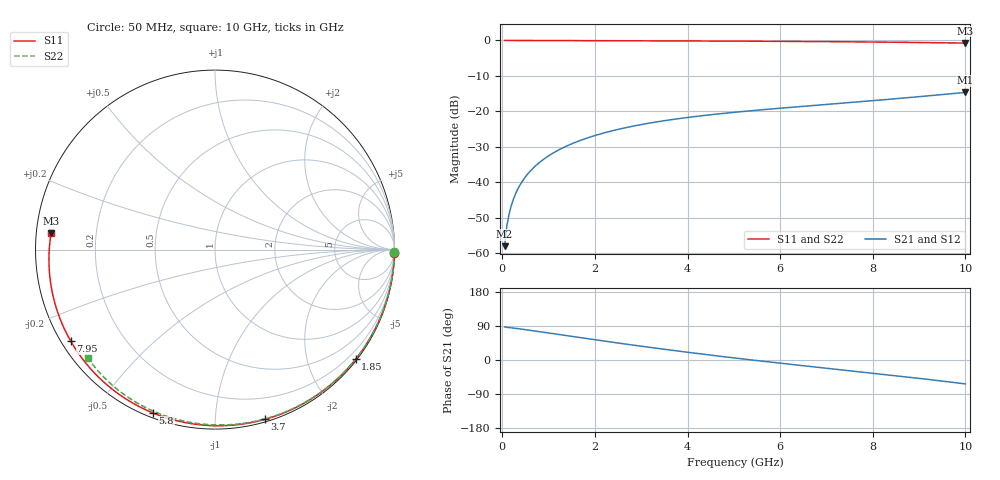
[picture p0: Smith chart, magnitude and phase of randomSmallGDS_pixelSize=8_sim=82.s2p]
! freq	dB(S11)	phase(S11)	dB(S12)	phase(S12)
!  dB(S21)	phase(S21)	dB(S22)	phase(S22)
!S-par simulation data
#  GHz  S  DB  R 50
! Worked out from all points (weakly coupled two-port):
!   200 points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, 50 MHz to 10 GHz, reference 50 ohm
!   highest |S21| = -14.65 dB at 10 GHz (marker M1); lowest = -58.0 dB at 50 MHz (marker M2)
!   lowest |S11| = -0.7 dB at 10 GHz (marker M3), VSWR 23.31, Z = 2.15 + j2.47 ohm
!   |S11| at or under -10 dB: nowhere
!   |S22| runs from -0.6 to 0.0 dB; largest |S21 - S12| = 0
!   S11 on the Smith chart (normalised r, x): 50 MHz: open; 1.85 GHz: 0.03, -2.91; 3.7 GHz: 0.02, -1.34; 5.8 GHz: 0.02, -0.69; 7.95 GHz: 0.03, -0.29; 10 GHz: 0.04, +0.05
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0.05  -0.00 -1.0  -58.01 87.4  -58.01 87.4  -0.00 -0.8
0.1  -0.00 -2.1  -52.18 86.2  -52.18 86.2  -0.00 -1.6
0.15  -0.00 -3.1  -48.76 85.5  -48.76 85.5  -0.00 -2.5
0.2  -0.00 -4.2  -46.32 84.9  -46.32 84.9  -0.00 -3.3
0.35  -0.01 -7.3  -41.53 82.6  -41.53 82.6  -0.00 -5.7
0.5  -0.01 -10.4  -38.46 80.1  -38.46 80.1  -0.01 -8.2
0.7  -0.02 -14.6  -35.57 76.6  -35.57 76.6  -0.01 -11.4
1  -0.03 -20.8  -32.53 71.2  -32.53 71.2  -0.02 -16.3
1.35  -0.04 -27.9  -30.01 64.9  -30.01 64.9  -0.03 -21.9
1.75  -0.05 -36.0  -27.88 57.8  -27.88 57.8  -0.04 -28.2
1.85  -0.06 -38.0  -27.43 56.0  -27.43 56.0  -0.05 -29.8
2.65  -0.08 -53.7  -24.63 42.2  -24.63 42.2  -0.07 -42.2
3.4  -0.11 -68.0  -22.83 29.9  -22.83 29.9  -0.09 -53.5
3.7  -0.12 -73.6  -22.24 25.1  -22.24 25.1  -0.10 -57.9
4.35  -0.15 -85.4  -21.17 15.1  -21.17 15.1  -0.13 -67.3
5.05  -0.19 -97.8  -20.21 4.8  -20.21 4.8  -0.16 -77.1
5.8  -0.23 -110.8  -19.33 -5.7  -19.33 -5.7  -0.19 -87.3
6.7  -0.30 -126.1  -18.37 -17.7  -18.37 -17.7  -0.25 -99.0
7.95  -0.43 -147.6  -17.04 -34.2  -17.04 -34.2  -0.35 -114.7
8.35  -0.48 -154.6  -16.60 -39.5  -16.60 -39.5  -0.39 -119.6
9.2  -0.60 -170.1  -15.62 -51.3  -15.62 -51.3  -0.50 -129.9
10  -0.75 174.3  -14.65 -63.2  -14.65 -63.2  -0.63 -139.6
